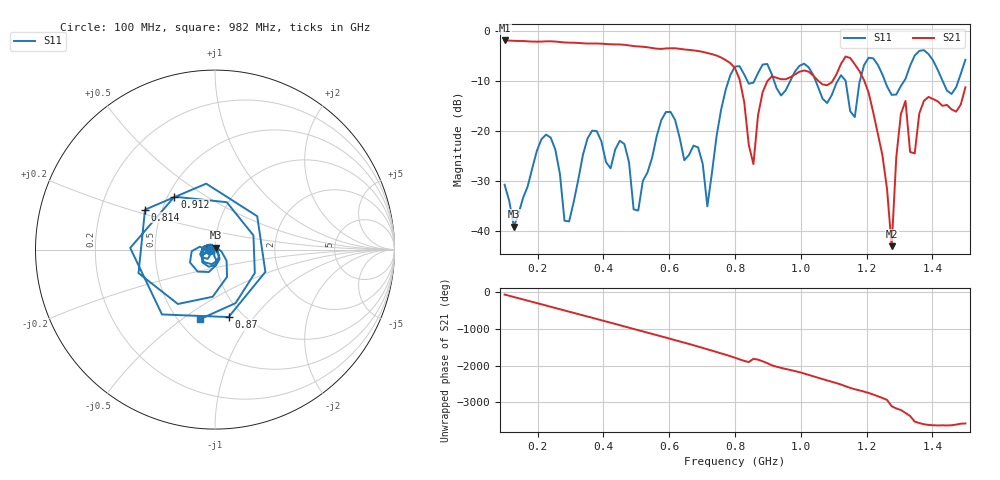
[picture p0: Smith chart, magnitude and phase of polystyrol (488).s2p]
! NanoVNA-App
! Date: 2025-09-25 15:33:41
! Start: 100MHz Stop: 1,5GHz Points: 101
! S-Parameter data: F S11 S21 S12 S22
# Hz S RI R 50
!  Frequency  S11_Real  S11_Imag  S21_Real  S21_Imag  S12_Real  S12_Imag  S22_Real  S22_Imag
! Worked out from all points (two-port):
!   101 points, 100 MHz to 1.5 GHz, reference 50 ohm
!   highest |S21| = -1.80 dB at 100 MHz (marker M1); lowest = -43.0 dB at 1.276 GHz (marker M2)
!   |S21| within 3 dB of the highest: start of sweep to 742.8 MHz
!   lowest |S11| = -39.1 dB at 128 MHz (marker M3), VSWR 1.02, Z = 50.3 + j1.06 ohm
!   |S11| at or under -10 dB: start of sweep to 779.8 MHz; 1.046 GHz to 1.111 GHz (65.55 MHz wide, 6.08 % of centre); 1.256 GHz to 1.313 GHz (57.03 MHz wide, 4.44 % of centre) (the widest 3 of 7)
!   S12 and S22 are empty: the file has one direction only
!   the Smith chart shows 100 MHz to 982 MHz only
!   S11 on the Smith chart (normalised r, x): 100 MHz: 0.94, -0.01; 814 MHz: 0.40, +0.22; 870 MHz: 0.86, -0.75; 912 MHz: 0.54, +0.37; 982 MHz: 0.64, -0.59
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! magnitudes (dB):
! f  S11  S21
! 100 MHz  -30.7  -1.8
! 128 MHz  -39.1  -1.9
! 212 MHz  -21.6  -2.0
! 282 MHz  -37.9  -2.2
! 338 MHz  -24.7  -2.4
! 464 MHz  -22.6  -2.7
! 506 MHz  -35.9  -3.0
! 576 MHz  -17.8  -3.5
! 716 MHz  -35.0  -4.3
! 800 MHz  -7.0  -7.4
! 814 MHz  -7.0  -9.6
! 856 MHz  -10.3  -26.6
! 870 MHz  -8.3  -16.8
! 912 MHz  -8.6  -9.0
! 982 MHz  -8.0  -8.6
! 1.038 GHz  -8.7  -8.9
! 1.164 GHz  -17.1  -6.6
! 1.192 GHz  -6.8  -9.8
! 1.276 GHz  -12.7  -43.0
! 1.318 GHz  -9.5  -13.9
! 1.346 GHz  -4.8  -24.4
! 1.5 GHz  -5.7  -11.2
